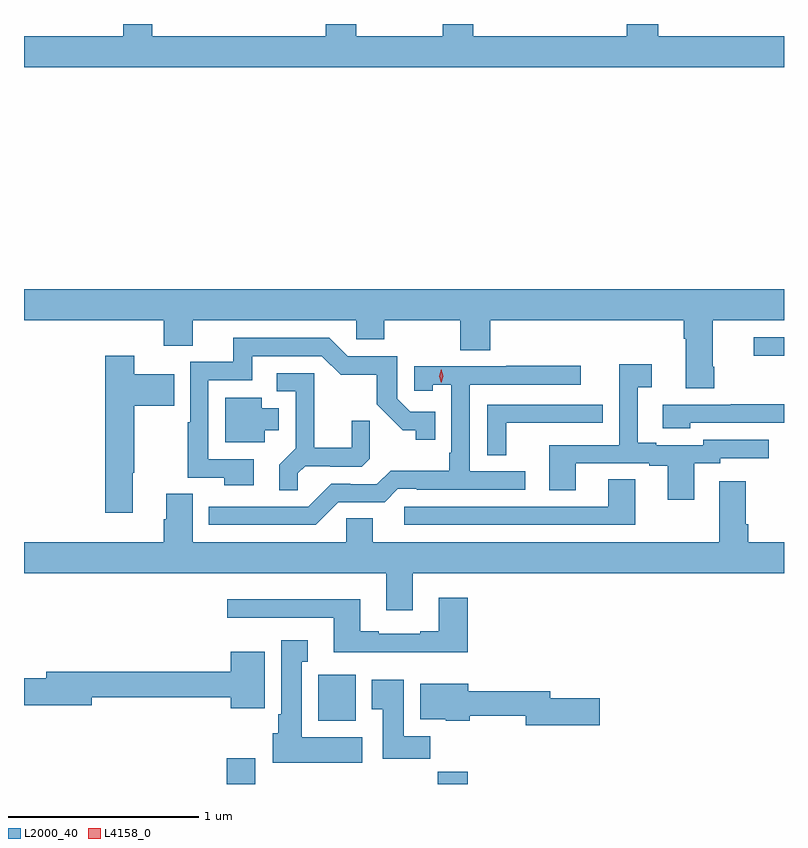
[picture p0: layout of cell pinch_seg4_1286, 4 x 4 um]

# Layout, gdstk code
import gdstk
lib = gdstk.Library(unit=1e-6, precision=1e-09)
def R(c, l, rs):  # rectangles x0, y0, x1, y1
    for r in rs: c.add(gdstk.rectangle(r[:2], r[2:], *l))
def P(c, l, *ps):  # polygons
    for p in ps: c.add(gdstk.Polygon(p, *l))
L2000_40 = (2000, 40)
L4158_0 = (4158, 0)

pinch_seg4_1286 = lib.new_cell('pinch_seg4_1286')
R(pinch_seg4_1286, L2000_40, [(389.765,769.072,389.917,769.207), (390.877,769.072,391.034,769.136), (390.248,769.406,390.445,769.648), (392.541,771.327,392.699,771.423)])
P(pinch_seg4_1286, L2000_40, [(392.699,773.008),(392.036,773.008),(392.036,773.072),(391.871,773.072),(391.871,773.008),(391.064,773.008),(391.064,773.072),(390.904,773.072),(390.904,773.008),(390.447,773.008),(390.447,773.072),(390.287,773.072),(390.287,773.008),(389.375,773.008),(389.375,773.072),(389.222,773.072),(389.222,773.008),(388.699,773.008),(388.699,772.844),(392.699,772.844)],
  [(392.331,771.268),(392.323,771.268),(392.323,771.512),(392.699,771.512),(392.699,771.676),(388.699,771.676),(388.699,771.512),(389.435,771.512),(389.435,771.379),(389.587,771.379),(389.587,771.512),(390.447,771.512),(390.447,771.414),(390.594,771.414),(390.594,771.512),(390.994,771.512),(390.994,771.355),(391.154,771.355),(391.154,771.512),(392.171,771.512),(392.171,771.416),(392.183,771.416),(392.183,771.156),(392.331,771.156)],
  [(389.908,770.781),(389.67,770.781),(389.67,771.198),(389.899,771.198),(389.899,771.324),(390.267,771.324),(390.366,771.226),(390.555,771.226),(390.555,771.07),(390.692,770.933),(390.762,770.933),(390.762,770.883),(390.863,770.883),(390.863,771.03),(390.732,771.03),(390.663,771.099),(390.663,771.324),(390.402,771.324),(390.306,771.42),(389.801,771.42),(389.801,771.294),(389.574,771.294),(389.574,770.975),(389.562,770.975),(389.562,770.685),(389.752,770.685),(389.752,770.645),(389.908,770.645)],
  [(389.272,770.711),(389.28,770.711),(389.28,771.064),(389.489,771.064),(389.489,771.229),(389.28,771.229),(389.28,771.325),(389.126,771.325),(389.126,770.499),(389.272,770.499)],
  [(392.227,770.76),(392.364,770.76),(392.364,770.787),(392.62,770.787),(392.62,770.883),(392.274,770.883),(392.274,770.856),(392.026,770.856),(392.026,770.869),(391.93,770.869),(391.93,771.16),(392.002,771.16),(392.002,771.28),(391.833,771.28),(391.833,770.856),(391.463,770.856),(391.463,770.617),(391.603,770.617),(391.603,770.76),(391.991,770.76),(391.991,770.748),(392.087,770.748),(392.087,770.568),(392.227,770.568)],
  [(390.354,770.556),(390.597,770.556),(390.666,770.625),(390.766,770.625),(390.766,770.622),(391.336,770.622),(391.336,770.718),(391.044,770.718),(391.044,771.174),(391.63,771.174),(391.63,771.273),(391.237,771.273),(391.237,771.27),(390.753,771.27),(390.753,771.141),(390.849,771.141),(390.849,771.173),(390.948,771.173),(390.948,770.815),(390.936,770.815),(390.936,770.722),(390.628,770.722),(390.555,770.649),(390.416,770.649),(390.416,770.652),(390.315,770.652),(390.195,770.532),(389.672,770.532),(389.672,770.436),(390.234,770.436)],
  [(390.141,770.708),(390.178,770.745),(390.312,770.745),(390.312,770.742),(390.477,770.742),(390.518,770.783),(390.518,770.985),(390.424,770.985),(390.424,770.842),(390.227,770.842),(390.227,771.234),(390.03,771.234),(390.03,771.138),(390.129,771.138),(390.129,770.839),(390.043,770.753),(390.043,770.617),(390.141,770.617)],
  [(389.965,770.933),(390.04,770.933),(390.04,771.049),(389.95,771.049),(389.95,771.106),(389.759,771.106),(389.759,770.87),(389.965,770.87)],
  [(392.205,770.973),(392.699,770.973),(392.699,771.072),(392.419,771.072),(392.419,771.069),(392.061,771.069),(392.061,770.945),(392.205,770.945)],
  [(391.236,770.973),(391.631,770.973),(391.631,770.974),(391.744,770.974),(391.744,771.069),(391.137,771.069),(391.137,770.803),(391.236,770.803)],
  [(391.915,770.675),(391.775,770.675),(391.775,770.532),(390.699,770.532),(390.699,770.436),(391.915,770.436)],
  [(390.745,770.18),(392.699,770.18),(392.699,770.344),(392.51,770.344),(392.51,770.44),(392.497,770.44),(392.497,770.665),(392.357,770.665),(392.357,770.344),(390.535,770.344),(390.535,770.471),(390.396,770.471),(390.396,770.344),(389.587,770.344),(389.587,770.6),(389.447,770.6),(389.447,770.466),(389.435,770.466),(389.435,770.344),(388.699,770.344),(388.699,770.18),(390.605,770.18),(390.605,769.986),(390.745,769.986)],
  [(391.034,770.053),(390.881,770.053),(390.881,769.876),(390.785,769.876),(390.785,769.863),(390.565,769.863),(390.565,769.876),(390.469,769.876),(390.469,770.044),(389.769,770.044),(389.769,769.947),(390.329,769.947),(390.329,769.766),(391.034,769.766)],
  [(390.478,769.318),(390.16,769.318),(390.16,769.715),(390.193,769.715),(390.193,769.828),(390.053,769.828),(390.053,769.438),(390.038,769.438),(390.038,769.338),(390.008,769.338),(390.008,769.184),(390.478,769.184)],
  [(389.965,769.768),(389.786,769.768),(389.786,769.664),(388.817,769.664),(388.817,769.628),(388.699,769.628),(388.699,769.486),(389.056,769.486),(389.056,769.528),(389.786,769.528),(389.786,769.472),(389.965,769.472)],
  [(390.836,769.324),(390.697,769.324),(390.697,769.621),(390.53,769.621),(390.53,769.465),(390.587,769.465),(390.587,769.206),(390.836,769.206)],
  [(391.729,769.523),(391.468,769.523),(391.468,769.559),(391.036,769.559),(391.036,769.6),(390.785,769.6),(390.785,769.412),(390.918,769.412),(390.918,769.406),(391.044,769.406),(391.044,769.431),(391.34,769.431),(391.34,769.381),(391.729,769.381)])
P(pinch_seg4_1286, L4158_0, [(390.894,771.183),(390.894,771.183),(390.885,771.219),(390.895,771.255),(390.895,771.255),(390.896,771.255),(390.905,771.219),(390.895,771.183)])

lib.write_gds('pinch_seg4_1286.gds')
